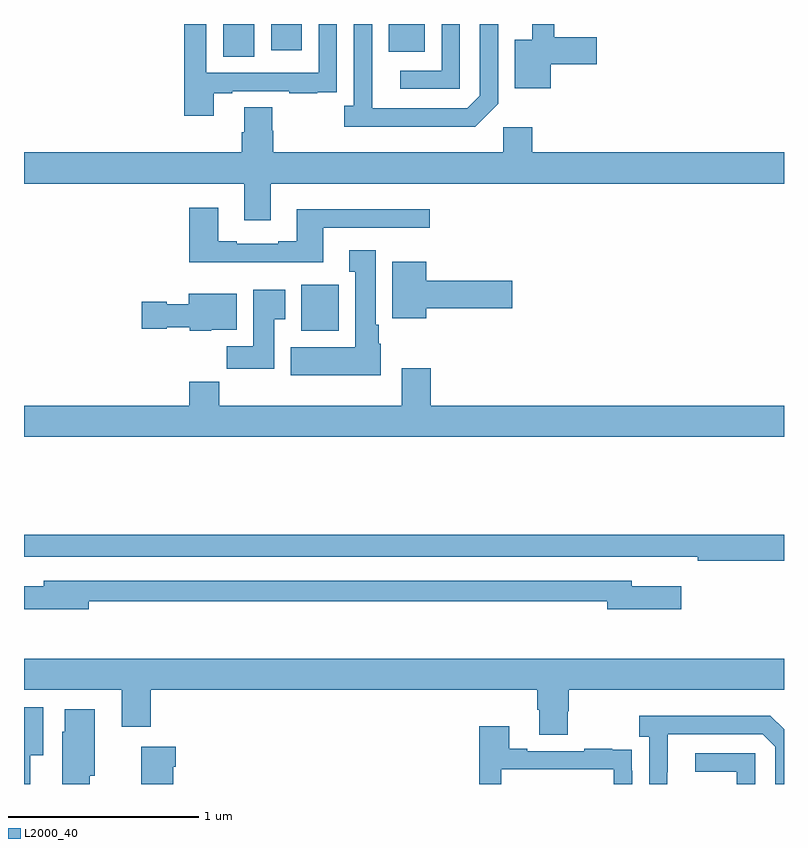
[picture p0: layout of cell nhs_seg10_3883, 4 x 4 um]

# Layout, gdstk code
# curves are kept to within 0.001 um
import gdstk
lib = gdstk.Library(unit=1e-6, precision=1e-09)
def R(c, l, rs):  # rectangles x0, y0, x1, y1
    for r in rs: c.add(gdstk.rectangle(r[:2], r[2:], *l))
def P(c, l, *ps):  # polygons
    for p in ps: c.add(gdstk.Polygon(p, *l))
L2000_40 = (2000, 40)

nhs_seg10_3883 = lib.new_cell('nhs_seg10_3883')
R(nhs_seg10_3883, L2000_40, [(326.459,1288.886,326.656,1289.128), (326.048,1290.328,326.212,1290.5), (326.921,1290.353,327.109,1290.5), (326.3,1290.363,326.461,1290.5)])
P(nhs_seg10_3883, L2000_40, [(327.294,1290.5),(327.198,1290.5),(327.198,1290.255),(326.979,1290.255),(326.979,1290.159),(327.294,1290.159)],
  [(325.999,1290.135),(326.095,1290.135),(326.095,1290.147),(326.395,1290.147),(326.395,1290.135),(326.543,1290.135),(326.543,1290.141),(326.645,1290.141),(326.645,1290.25),(326.646,1290.25),(326.646,1290.5),(326.55,1290.5),(326.55,1290.243),(325.959,1290.243),(325.959,1290.5),(325.843,1290.5),(325.843,1290.018),(325.999,1290.018)],
  [(327.495,1290.081),(327.495,1290.5),(327.399,1290.5),(327.399,1290.123),(327.333,1290.057),(326.833,1290.057),(326.832,1290.5),(326.736,1290.5),(326.736,1290.07),(326.685,1290.07),(326.685,1289.96),(327.374,1289.96)],
  [(327.772,1290.289),(328.015,1290.289),(328.015,1290.431),(327.791,1290.431),(327.791,1290.5),(327.674,1290.5),(327.674,1290.418),(327.584,1290.418),(327.584,1290.161),(327.772,1290.161)],
  [(326.299,1289.66),(329,1289.66),(329,1289.824),(327.674,1289.824),(327.674,1289.956),(327.522,1289.956),(327.522,1289.824),(326.312,1289.824),(326.312,1289.937),(326.307,1289.937),(326.307,1290.062),(326.159,1290.062),(326.159,1289.93),(326.147,1289.93),(326.147,1289.824),(325,1289.824),(325,1289.66),(326.159,1289.66),(326.159,1289.466),(326.299,1289.466)],
  [(326.575,1289.427),(327.136,1289.427),(327.136,1289.524),(326.435,1289.524),(326.435,1289.356),(326.339,1289.356),(326.339,1289.343),(326.119,1289.343),(326.119,1289.356),(326.023,1289.356),(326.023,1289.533),(325.871,1289.533),(325.871,1289.246),(326.575,1289.246)],
  [(326.878,1288.818),(326.866,1288.818),(326.866,1288.918),(326.851,1288.918),(326.851,1289.308),(326.711,1289.308),(326.711,1289.195),(326.744,1289.195),(326.744,1288.798),(326.405,1288.798),(326.405,1288.652),(326.878,1288.652)],
  [(327.118,1289.003),(327.571,1289.003),(327.571,1289.15),(327.118,1289.15),(327.118,1289.248),(326.939,1289.248),(326.939,1288.952),(327.118,1288.952)],
  [(326.317,1288.945),(326.374,1288.945),(326.374,1289.101),(326.207,1289.101),(326.207,1288.804),(326.068,1288.804),(326.068,1288.686),(326.317,1288.686)],
  [(325.986,1288.892),(326.119,1288.892),(326.119,1289.08),(325.868,1289.08),(325.868,1289.026),(325.752,1289.026),(325.752,1289.039),(325.62,1289.039),(325.62,1288.897),(325.752,1288.897),(325.752,1288.904),(325.872,1288.904),(325.872,1288.886),(325.986,1288.886)],
  [(329,1288.492),(327.14,1288.492),(327.14,1288.687),(326.987,1288.687),(326.987,1288.492),(326.027,1288.492),(326.027,1288.616),(325.871,1288.616),(325.871,1288.492),(325,1288.492),(325,1288.328),(329,1288.328)],
  [(329,1287.812),(325,1287.812),(325,1287.696),(328.294,1287.696),(328.294,1287.695),(328.546,1287.695),(328.546,1287.676),(329,1287.676)],
  [(325.342,1287.462),(328.07,1287.462),(328.07,1287.419),(328.459,1287.419),(328.459,1287.541),(328.198,1287.541),(328.198,1287.57),(325.103,1287.57),(325.103,1287.541),(325,1287.541),(325,1287.419),(325.342,1287.419)],
  [(327.861,1286.883),(327.866,1286.883),(327.866,1286.996),(329,1286.996),(329,1287.16),(325,1287.16),(325,1286.996),(325.514,1286.996),(325.514,1286.802),(325.667,1286.802),(325.667,1286.996),(327.701,1286.996),(327.701,1286.89),(327.713,1286.89),(327.713,1286.758),(327.861,1286.758)],
  [(325.033,1286.651),(325.102,1286.651),(325.102,1286.905),(325,1286.905),(325,1286.5),(325.033,1286.5)],
  [(325.345,1286.544),(325.372,1286.544),(325.372,1286.893),(325.214,1286.893),(325.214,1286.775),(325.202,1286.775),(325.202,1286.5),(325.345,1286.5)],
  [(328.386,1286.563),(328.387,1286.763),(328.887,1286.763),(328.953,1286.697),(328.953,1286.5),(329,1286.5),(329,1286.788),(328.928,1286.86),(328.239,1286.86),(328.239,1286.75),(328.29,1286.75),(328.29,1286.5),(328.386,1286.5)],
  [(327.513,1286.577),(328.104,1286.577),(328.104,1286.5),(328.2,1286.5),(328.2,1286.57),(328.199,1286.57),(328.199,1286.679),(328.097,1286.679),(328.097,1286.686),(327.949,1286.686),(327.949,1286.673),(327.649,1286.673),(327.649,1286.686),(327.553,1286.686),(327.553,1286.803),(327.397,1286.803),(327.397,1286.5),(327.513,1286.5)],
  [(325.786,1286.591),(325.799,1286.591),(325.799,1286.695),(325.616,1286.695),(325.616,1286.5),(325.786,1286.5)],
  [(328.848,1286.661),(328.533,1286.661),(328.533,1286.565),(328.752,1286.565),(328.752,1286.5),(328.848,1286.5)])

lib.write_gds('nhs_seg10_3883.gds')
